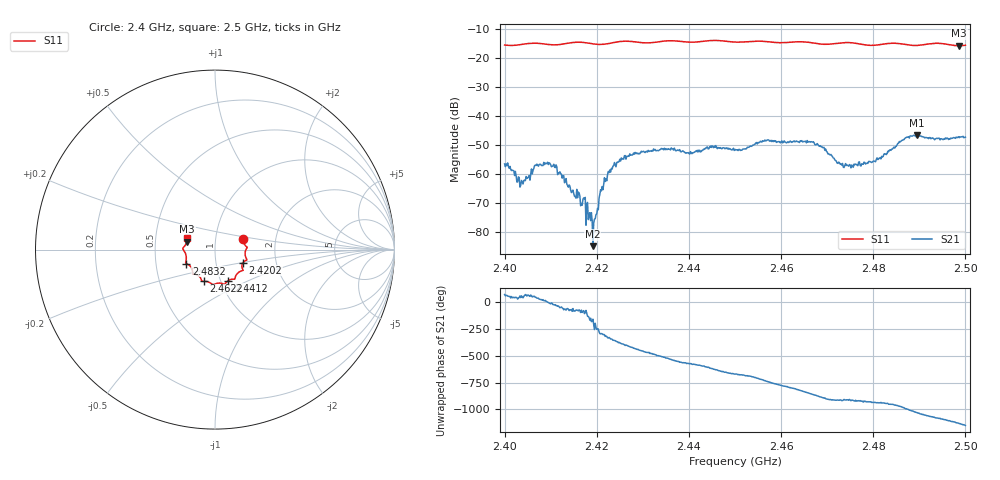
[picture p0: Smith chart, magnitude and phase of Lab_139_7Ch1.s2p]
# Hz S RI R 50
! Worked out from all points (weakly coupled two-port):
!   601 points, 2.4 GHz to 2.5 GHz, reference 50 ohm
!   highest |S21| = -46.54 dB at 2.4895 GHz (marker M1); lowest = -84.8 dB at 2.4192 GHz (marker M2)
!   lowest |S11| = -15.8 dB at 2.4987 GHz (marker M3), VSWR 1.39, Z = 36.4 + j3.36 ohm
!   |S11| at or under -10 dB: start of sweep to end of sweep
!   S12 and S22 are empty: the file has one direction only
!   S11 on the Smith chart (normalised r, x): 2.4 GHz: 1.36, +0.17; 2.4202 GHz: 1.35, -0.20; 2.4412 GHz: 1.09, -0.39; 2.4622 GHz: 0.83, -0.30; 2.4832 GHz: 0.72, -0.12; 2.5 GHz: 0.73, +0.09
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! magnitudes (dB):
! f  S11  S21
! 2.4 GHz  -15.5  -56.5
! 2.4038 GHz  -15.3  -62.7
! 2.407 GHz  -14.9  -56.5
! 2.4108 GHz  -15.5  -57.5
! 2.4167 GHz  -14.6  -70.1
! 2.4192 GHz  -15.1  -84.8
! 2.4202 GHz  -15.3  -71.8
! 2.4212 GHz  -15.3  -64.3
! 2.424 GHz  -14.6  -56.8
! 2.4333 GHz  -14.4  -51.9
! 2.4412 GHz  -14.5  -52.4
! 2.45 GHz  -14.5  -51.5
! 2.4568 GHz  -14.3  -48.4
! 2.4622 GHz  -14.5  -48.9
! 2.4667 GHz  -14.7  -48.8
! 2.474 GHz  -14.7  -56.4
! 2.48 GHz  -15.6  -55.5
! 2.4832 GHz  -15.0  -52.1
! 2.4833 GHz  -15.0  -52.2
! 2.4895 GHz  -15.7  -46.5
! 2.4987 GHz  -15.8  -47.4
! 2.5 GHz  -15.6  -47.2
